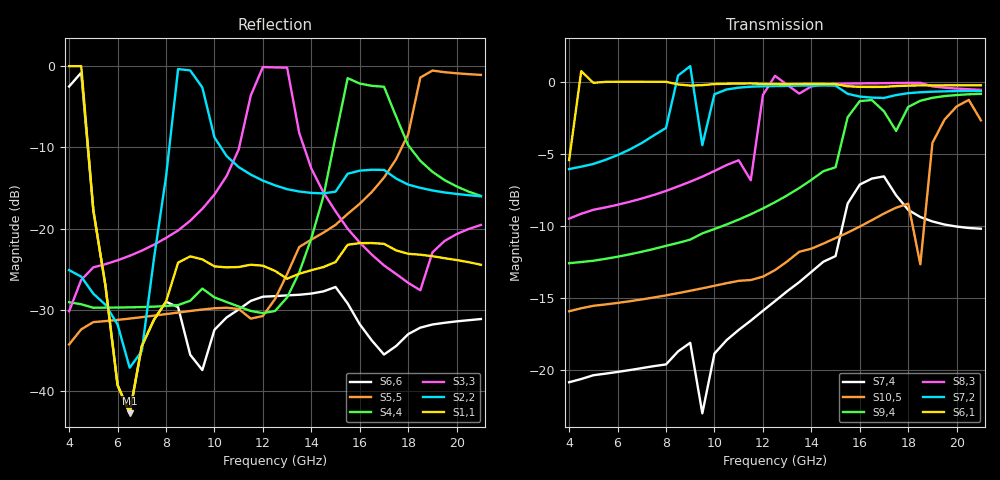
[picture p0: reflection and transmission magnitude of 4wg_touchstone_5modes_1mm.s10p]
! S-parameter export from POSTFEKO
! Filename: circular_4wg_5modes_V2
! Creation date: 2020-01-13 16:03:06
# Hz S MA R  5.0000000E+01
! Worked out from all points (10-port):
!   35 points, 4 GHz to 21 GHz, reference 50 ohm
!   strongest paths, dB at 4 GHz, 8 GHz, 12.5 GHz, 17 GHz, 21 GHz:
!     S6,1: -5.4, 0.0, -0.2, -0.4, -0.3
!     S7,2: -6.1, -3.2, -0.3, -1.1, -0.6
!     S8,3: -9.5, -7.6, 0.4, -0.1, -0.6
!     S9,4: -12.6, -11.4, -8.3, -2.0, -0.8
!     S10,5: -15.9, -14.8, -13.1, -9.1, -2.7
!     S7,4: -20.8, -19.6, -15.2, -6.6, -10.2
!   lowest |S11| = -42.7 dB at 6.5 GHz (marker M1), VSWR 1.01, Z = 49.3 + j0.177 ohm
!   |S11| at or under -10 dB: 4.782 GHz to end of sweep
